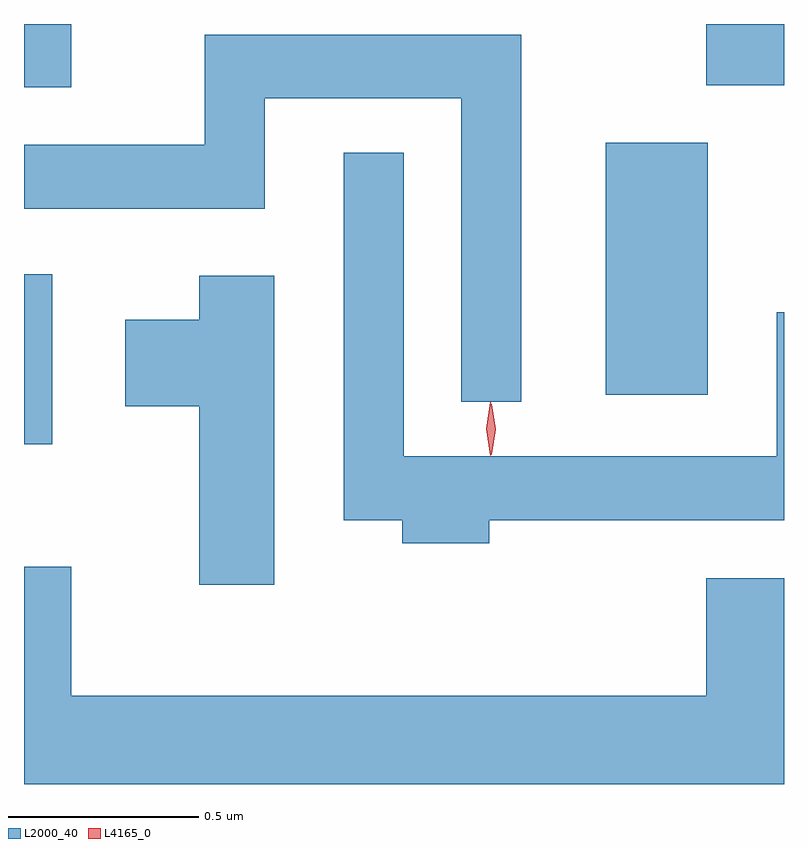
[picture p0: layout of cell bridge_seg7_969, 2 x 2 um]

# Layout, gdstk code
import gdstk
lib = gdstk.Library(unit=1e-6, precision=1e-09)
def R(c, l, rs):  # rectangles x0, y0, x1, y1
    for r in rs: c.add(gdstk.rectangle(r[:2], r[2:], *l))
def P(c, l, *ps):  # polygons
    for p in ps: c.add(gdstk.Polygon(p, *l))
L2000_40 = (2000, 40)
L4165_0 = (4165, 0)

bridge_seg7_969 = lib.new_cell('bridge_seg7_969')
R(bridge_seg7_969, L2000_40, [(487.525,1735.226,487.599,1735.674), (489.056,1735.356,489.324,1736.019), (487.525,1736.166,487.649,1736.332), (489.321,1736.171,489.525,1736.332)])
P(bridge_seg7_969, L2000_40, [(488.834,1736.304),(488.001,1736.304),(488.001,1736.014),(487.525,1736.014),(487.525,1735.846),(488.159,1735.846),(488.159,1736.136),(488.676,1736.136),(488.676,1735.338),(488.834,1735.338)],
  [(488.749,1735.026),(489.525,1735.026),(489.525,1735.573),(489.506,1735.573),(489.506,1735.194),(488.524,1735.194),(488.524,1735.993),(488.366,1735.993),(488.366,1735.026),(488.521,1735.026),(488.521,1734.966),(488.749,1734.966)],
  [(488.184,1735.669),(487.986,1735.669),(487.986,1735.554),(487.791,1735.554),(487.791,1735.326),(487.986,1735.326),(487.986,1734.856),(488.184,1734.856)],
  [(489.525,1734.874),(489.321,1734.874),(489.321,1734.564),(487.649,1734.564),(487.649,1734.904),(487.525,1734.904),(487.525,1734.332),(489.525,1734.332)])
P(bridge_seg7_969, L4165_0, [(488.752,1735.197),(488.752,1735.197),(488.742,1735.267),(488.752,1735.336),(488.752,1735.336),(488.753,1735.336),(488.762,1735.267),(488.753,1735.197)],
  [(488.756,1735.199),(488.755,1735.2),(488.746,1735.266),(488.755,1735.332),(488.756,1735.333),(488.756,1735.332),(488.766,1735.266),(488.756,1735.2)])

lib.write_gds('bridge_seg7_969.gds')
